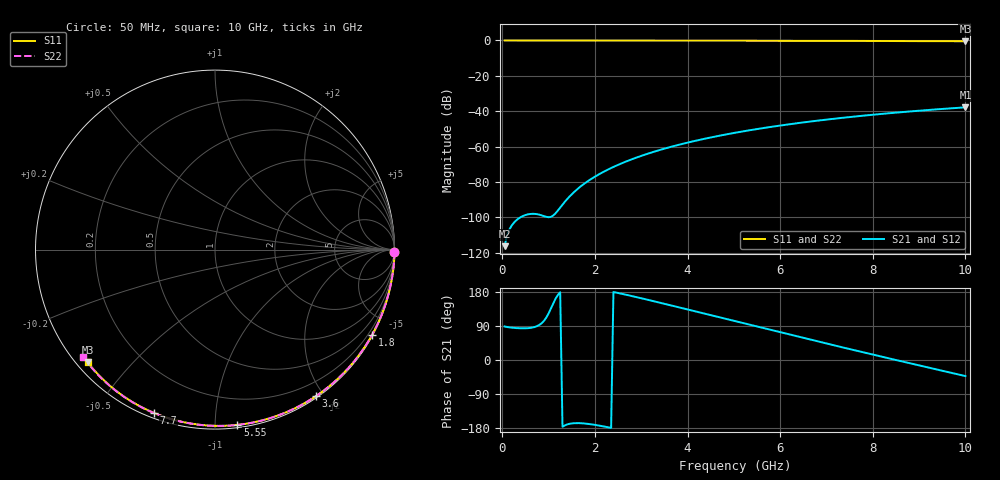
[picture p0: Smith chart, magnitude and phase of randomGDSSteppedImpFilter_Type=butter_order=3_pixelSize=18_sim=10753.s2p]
! freq	dB(S11)	phase(S11)	dB(S12)	phase(S12)
!  dB(S21)	phase(S21)	dB(S22)	phase(S22)
!S-par simulation data
#  GHz  S  DB  R 50
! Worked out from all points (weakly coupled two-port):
!   200 points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, 50 MHz to 10 GHz, reference 50 ohm
!   highest |S21| = -37.81 dB at 10 GHz (marker M1); lowest = -116.3 dB at 50 MHz (marker M2)
!   lowest |S11| = -0.5 dB at 10 GHz (marker M3), VSWR 36.99, Z = 1.55 - j18.9 ohm
!   |S11| at or under -10 dB: nowhere
!   |S22| runs from -0.5 to 0.0 dB; largest |S21 - S12| = 0
!   S11 on the Smith chart (normalised r, x): 50 MHz: open; 1.8 GHz: 0.03, -3.95; 3.6 GHz: 0.02, -1.90; 5.55 GHz: 0.02, -1.14; 7.7 GHz: 0.02, -0.69; 10 GHz: 0.03, -0.38
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0.05  -0.00 -0.8  -116.30 88.4  -116.30 88.4  -0.00 -0.8
0.45  -0.01 -7.2  -99.19 83.6  -99.19 83.6  -0.01 -7.3
0.9  -0.02 -14.3  -99.31 103.4  -99.31 103.4  -0.02 -14.6
1.75  -0.04 -27.6  -81.37 -167.3  -81.37 -167.3  -0.04 -28.1
1.8  -0.04 -28.4  -80.42 -167.9  -80.42 -167.9  -0.04 -28.9
1.85  -0.04 -29.2  -79.51 -168.6  -79.51 -168.6  -0.04 -29.7
2.05  -0.04 -32.2  -76.23 -172.2  -76.23 -172.2  -0.04 -32.8
2.2  -0.04 -34.5  -74.08 -175.5  -74.08 -175.5  -0.04 -35.1
2.55  -0.05 -39.9  -69.76 175.6  -69.76 175.6  -0.05 -40.5
2.95  -0.06 -45.9  -65.71 164.4  -65.71 164.4  -0.06 -46.6
3.4  -0.07 -52.5  -61.93 151.3  -61.93 151.3  -0.07 -53.4
3.6  -0.07 -55.5  -60.44 145.4  -60.44 145.4  -0.08 -56.4
3.9  -0.08 -59.8  -58.40 136.4  -58.40 136.4  -0.08 -60.8
4.3  -0.09 -65.5  -55.96 124.3  -55.96 124.3  -0.09 -66.6
5.05  -0.12 -76.0  -52.08 101.7  -52.08 101.7  -0.12 -77.2
5.55  -0.14 -82.7  -49.88 86.6  -49.88 86.6  -0.14 -84.1
6.1  -0.16 -90.0  -47.74 70.1  -47.74 70.1  -0.16 -91.5
6.7  -0.19 -97.8  -45.68 52.3  -45.68 52.3  -0.19 -99.4
7.7  -0.25 -110.5  -42.77 23.0  -42.77 23.0  -0.26 -112.3
8.35  -0.30 -118.5  -41.15 4.3  -41.15 4.3  -0.31 -120.5
9.2  -0.38 -128.8  -39.31 -19.9  -39.31 -19.9  -0.39 -131.0
10  -0.47 -138.5  -37.81 -42.4  -37.81 -42.4  -0.47 -141.0
